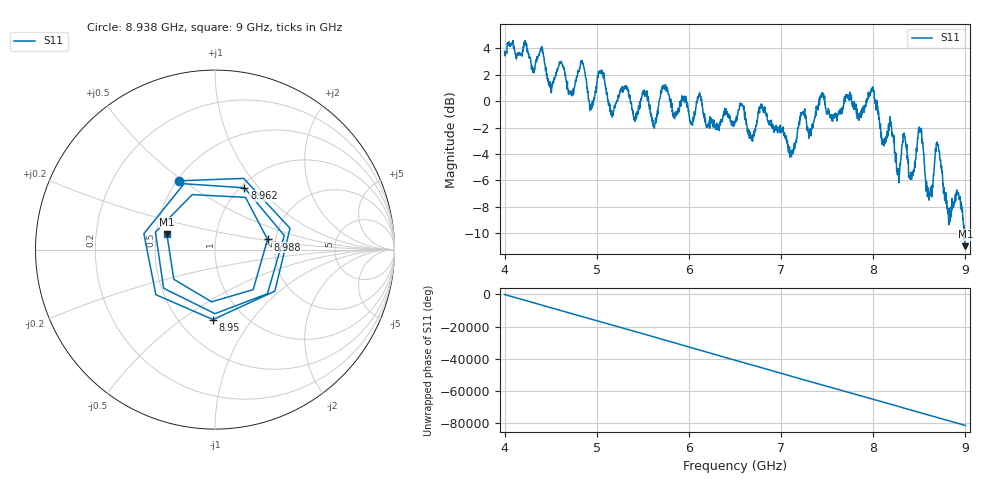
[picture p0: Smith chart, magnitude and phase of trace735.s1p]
! Created with skrf 1.8.0 (http://scikit-rf.org).
# Hz S RI R 50.0
!freq ReS11 ImS11
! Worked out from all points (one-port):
!   1601 points, 4 GHz to 9 GHz, reference 50 ohm
!   lowest |S11| = -11.0 dB at 9 GHz (marker M1), VSWR 1.79, Z = 28.5 + j5.36 ohm
!   |S11| at or under -10 dB: 8.986078 GHz to end of sweep
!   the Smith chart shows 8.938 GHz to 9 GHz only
!   S11 on the Smith chart (normalised r, x): 8.938 GHz: 0.51, +0.48; 8.95 GHz: 0.72, -0.66; 8.962 GHz: 1.05, +0.84; 8.988 GHz: 1.81, +0.22; 9 GHz: 0.57, +0.11
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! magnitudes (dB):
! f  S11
! 4 GHz  3.8
! 4.625 GHz  2.8
! 4.716 GHz  0.6
! 4.844 GHz  3.0
! 4.938 GHz  -0.5
! 5.041 GHz  2.3
! 5.159 GHz  -1.0
! 5.25 GHz  0.7
! 5.875 GHz  -1.0
! 6.5 GHz  -1.5
! 6.678 GHz  -2.6
! 6.8 GHz  -0.5
! 7.125 GHz  -3.7
! 7.231 GHz  -0.9
! 7.75 GHz  0.3
! 7.994 GHz  1.1
! 8.262 GHz  -5.6
! 8.375 GHz  -4.6
! 8.422 GHz  -5.5
! 8.506 GHz  -2.4
! 8.594 GHz  -6.6
! 8.697 GHz  -3.2
! 8.819 GHz  -9.3
! 8.938 GHz  -7.3
! 8.95 GHz  -8.2
! 8.962 GHz  -8.4
! 8.988 GHz  -10.5
! 9 GHz  -11.0
